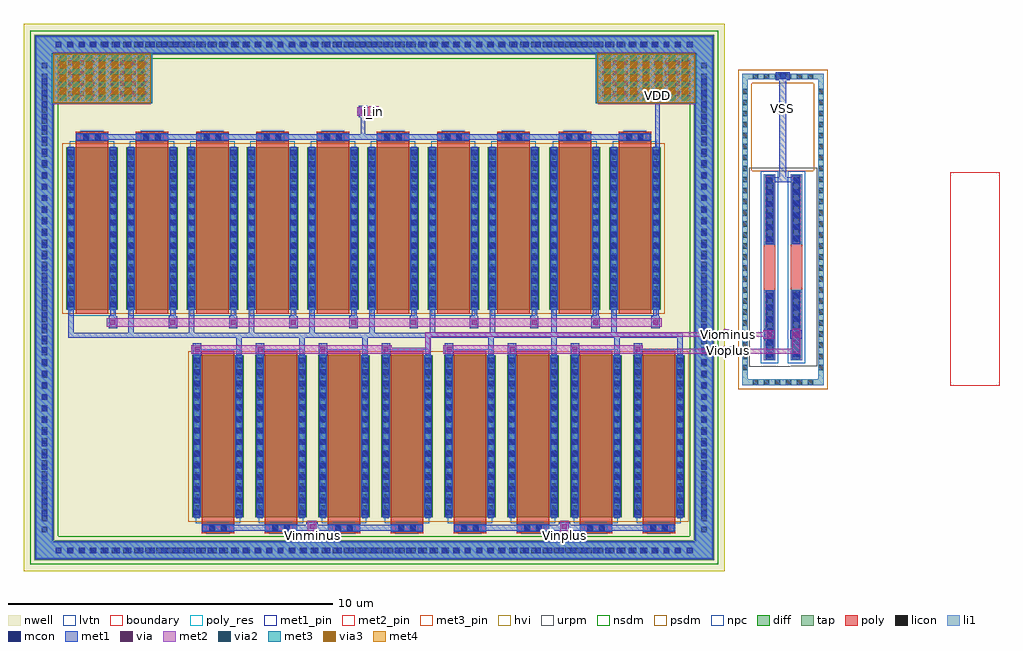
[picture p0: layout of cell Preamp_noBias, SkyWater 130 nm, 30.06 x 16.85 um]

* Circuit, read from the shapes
.subckt Preamp_noBias VDD VSS Vinminus Vinplus Viominus Vioplus i_in
XM1 VDD i_in n1 VDD sky130_fd_pr__pfet_g5v0d10v5 w=5 l=1 m=10
XM2 n1 Vinminus Viominus VDD sky130_fd_pr__pfet_g5v0d10v5 w=5 l=1 m=4
XM3 n1 Vinplus Vioplus VDD sky130_fd_pr__pfet_g5v0d10v5 w=5 l=1 m=4
XR4 VSS Viominus VSS sky130_fd_pr__res_xhigh_po w=0.35 l=1.44
XR5 VSS Vioplus VSS sky130_fd_pr__res_xhigh_po w=0.35 l=1.44
.ends

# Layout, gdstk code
import gdstk
lib = gdstk.Library(unit=1e-6, precision=1e-09)
def R(c, l, rs):  # rectangles x0, y0, x1, y1
    for r in rs: c.add(gdstk.rectangle(r[:2], r[2:], *l))
def A(c, l, x, y, w, h, nx, ny, dx, dy):  # array of equal rectangles
    R(c, l, [(x+i*dx, y+j*dy, x+i*dx+w, y+j*dy+h) for i in range(nx) for j in range(ny)])
nwell = (64, 20)
diff = (65, 20)
tap = (65, 44)
poly_res = (66, 13)
poly = (66, 20)
licon = (66, 44)
li1 = (67, 20)
mcon = (67, 44)
met1_pin = (68, 16)
met1 = (68, 20)
via = (68, 44)
met2_pin = (69, 16)
met2 = (69, 20)
via2 = (69, 44)
met3_pin = (70, 16)
met3 = (70, 20)
via3 = (70, 44)
met4 = (71, 20)
hvi = (75, 20)
urpm = (79, 20)
nsdm = (93, 44)
psdm = (94, 20)
npc = (95, 20)
lvtn = (125, 44)
boundary = (235, 4)

sky130_fd_pr__pfet_01v8_ = lib.new_cell('sky130_fd_pr__pfet_01v8_lvt_755577')
R(sky130_fd_pr__pfet_01v8_, nwell, [(-0.97,-2.82,0.97,2.99)])
R(sky130_fd_pr__pfet_01v8_, diff, [(-0.79,-2.32,0.79,2.68)])
R(sky130_fd_pr__pfet_01v8_, poly, [(-0.5,-2.805,0.5,2.81)])
A(sky130_fd_pr__pfet_01v8_, licon, -0.73, -2.115, 0.17, 0.17, 1, 14, 0, 0.34)
A(sky130_fd_pr__pfet_01v8_, licon, 0.56, -2.115, 0.17, 0.17, 1, 14, 0, 0.34)
R(sky130_fd_pr__pfet_01v8_, licon, [(-0.255,-2.725,-0.085,-2.555), (0.085,-2.725,0.255,-2.555)])
R(sky130_fd_pr__pfet_01v8_, li1, [(-0.5,-2.725,0.5,-2.555), (-0.73,-2.34,-0.56,2.7), (0.56,-2.34,0.73,2.7)])
A(sky130_fd_pr__pfet_01v8_, mcon, -0.73, -2.245, 0.17, 0.17, 1, 14, 0, 0.36)
A(sky130_fd_pr__pfet_01v8_, mcon, 0.56, -2.245, 0.17, 0.17, 1, 14, 0, 0.36)
R(sky130_fd_pr__pfet_01v8_, mcon, [(-0.265,-2.725,-0.095,-2.555), (0.095,-2.725,0.265,-2.555)])
R(sky130_fd_pr__pfet_01v8_, met1, [(-0.48,-2.755,0.48,-2.525), (-0.76,-2.32,-0.53,2.68), (0.53,-2.32,0.76,2.68)])
R(sky130_fd_pr__pfet_01v8_, psdm, [(-0.915,-2.445,0.915,2.805)])
R(sky130_fd_pr__pfet_01v8_, npc, [(-0.355,-2.825,0.355,-2.455)])
R(sky130_fd_pr__pfet_01v8_, lvtn, [(-0.68,-2.5,0.68,2.86)])

sky130_fd_pr__res_xhigh_ = lib.new_cell('sky130_fd_pr__res_xhigh_po_0p35_5KD9UN')
R(sky130_fd_pr__res_xhigh_, poly_res, [(-0.175,-0.78,0.175,0.78)])
R(sky130_fd_pr__res_xhigh_, poly, [(-0.175,-2.86,0.175,2.86)])
R(sky130_fd_pr__res_xhigh_, licon, [(-0.095,-2.78,0.095,-0.78), (-0.095,0.78,0.095,2.78)])
R(sky130_fd_pr__res_xhigh_, li1, [(-0.175,-2.86,0.175,-0.7), (-0.175,0.7,0.175,2.86)])
A(sky130_fd_pr__res_xhigh_, mcon, -0.085, -2.765, 0.17, 0.17, 1, 6, 0, 0.36)
A(sky130_fd_pr__res_xhigh_, mcon, -0.085, 0.79, 0.17, 0.17, 1, 6, 0, 0.36)
R(sky130_fd_pr__res_xhigh_, met1, [(-0.125,-2.83,0.125,-0.725), (-0.125,0.725,0.125,2.83)])
R(sky130_fd_pr__res_xhigh_, urpm, [(-0.635,-3.06,0.635,3.06)])
R(sky130_fd_pr__res_xhigh_, psdm, [(-0.285,-2.97,0.285,2.97)])
R(sky130_fd_pr__res_xhigh_, npc, [(-0.27,-2.955,0.27,2.955)])

c_sky130_fd_pr__pfet_01v8_ = lib.new_cell('sky130_fd_pr__pfet_01v8_lvt_N5558H')
R(c_sky130_fd_pr__pfet_01v8_, nwell, [(-0.97,-2.99,0.97,2.82)])
R(c_sky130_fd_pr__pfet_01v8_, diff, [(-0.79,-2.68,0.79,2.32)])
R(c_sky130_fd_pr__pfet_01v8_, poly, [(-0.5,-2.81,0.5,2.805)])
A(c_sky130_fd_pr__pfet_01v8_, licon, -0.73, -2.475, 0.17, 0.17, 1, 14, 0, 0.34)
A(c_sky130_fd_pr__pfet_01v8_, licon, 0.56, -2.475, 0.17, 0.17, 1, 14, 0, 0.34)
R(c_sky130_fd_pr__pfet_01v8_, licon, [(-0.255,2.555,-0.085,2.725), (0.085,2.555,0.255,2.725)])
R(c_sky130_fd_pr__pfet_01v8_, li1, [(-0.73,-2.7,-0.56,2.34), (0.56,-2.7,0.73,2.34), (-0.5,2.555,0.5,2.725)])
A(c_sky130_fd_pr__pfet_01v8_, mcon, -0.73, -2.605, 0.17, 0.17, 1, 14, 0, 0.36)
A(c_sky130_fd_pr__pfet_01v8_, mcon, 0.56, -2.605, 0.17, 0.17, 1, 14, 0, 0.36)
R(c_sky130_fd_pr__pfet_01v8_, mcon, [(-0.265,2.555,-0.095,2.725), (0.095,2.555,0.265,2.725)])
R(c_sky130_fd_pr__pfet_01v8_, met1, [(-0.76,-2.68,-0.53,2.32), (0.53,-2.68,0.76,2.32), (-0.48,2.525,0.48,2.755)])
R(c_sky130_fd_pr__pfet_01v8_, psdm, [(-0.915,-2.805,0.915,2.445)])
R(c_sky130_fd_pr__pfet_01v8_, npc, [(-0.355,2.455,0.355,2.825)])
R(c_sky130_fd_pr__pfet_01v8_, lvtn, [(-0.68,-2.86,0.68,2.5)])

preamp_nobias = lib.new_cell('Preamp_noBias')
R(preamp_nobias, nwell, [(-1.2,-7.65,20.4,9.2)])
R(preamp_nobias, tap, [(-0.87,-7.32,20.07,-6.7), (-0.87,-6.7,-0.25,8.25), (19.45,-6.7,20.07,8.25), (20.94,-1.92,23.44,-1.75), (20.94,-1.75,21.11,7.5), (23.27,-1.75,23.44,7.5), (20.94,7.5,23.44,7.67), (-0.87,8.25,20.07,8.87)])
A(preamp_nobias, licon, 0.165, -7.095, 0.17, 0.17, 56, 2, 0.34, 15.57)
A(preamp_nobias, licon, -0.645, -6.45, 0.17, 0.17, 1, 43, 0, 0.34)
A(preamp_nobias, licon, 19.675, -6.45, 0.17, 0.17, 1, 43, 0, 0.34)
A(preamp_nobias, licon, 21.255, -1.92, 0.17, 0.17, 6, 2, 0.34, 9.42)
A(preamp_nobias, licon, 20.94, -1.46, 0.17, 0.17, 1, 26, 0, 0.34)
A(preamp_nobias, licon, 23.27, -1.46, 0.17, 0.17, 1, 26, 0, 0.34)
R(preamp_nobias, li1, [(-0.81,-7.26,20.01,-6.76), (-0.81,-6.76,-0.31,8.31), (19.51,-6.76,20.01,8.31), (20.94,-1.92,23.44,-1.75), (20.94,-1.75,21.11,7.5), (23.27,-1.75,23.44,7.5), (22.03,7.49,22.34,7.5), (20.94,7.5,23.44,7.67), (22.03,7.67,22.34,7.69), (-0.81,8.31,20.01,8.81)])
A(preamp_nobias, mcon, -0.205, -7.095, 0.17, 0.17, 55, 2, 0.36, 15.57)
A(preamp_nobias, mcon, -0.645, -5.97, 0.17, 0.17, 1, 38, 0, 0.36)
A(preamp_nobias, mcon, 19.675, -5.97, 0.17, 0.17, 1, 38, 0, 0.36)
R(preamp_nobias, mcon, [(22.1,7.505,22.27,7.675)])
R(preamp_nobias, met1_pin, [(22.03,6.44,22.33,6.74)])
A(preamp_nobias, met1, 5.35, -1.21, 0.17, 0.75, 7, 1, 1.94, 0)
A(preamp_nobias, met1, 0.18, -0.31, 0.17, 0.77, 4, 1, 3.71, 0)
A(preamp_nobias, met1, 2.03, -0.31, 0.17, 0.82, 4, 1, 3.71, 0)
R(preamp_nobias, met1, [(-0.84,-7.29,20.04,-6.73), (-0.84,-6.73,-0.28,6.78), (19.48,-6.73,20.04,6.78), (4.36,-6.41,11.03,-6.23), (12.13,-6.41,18.8,-6.23), (7.51,-6.23,7.87,-6.15), (15.28,-6.23,15.64,-6.15), (18.93,-1.14,19.1,-0.46), (4.02,-1,4.28,-0.64), (5.96,-1,6.22,-0.64), (7.89,-1,8.15,-0.64), (9.83,-1,10.09,-0.64), (11.78,-1,12.04,-0.64), (13.72,-1,13.98,-0.64), (15.65,-1,15.91,-0.64), (17.59,-1,17.85,-0.64), (21.63,-0.55,21.89,-0.19), (22.42,-0.5,22.78,-0.24), (0.18,-0.46,19.1,-0.31), (15.05,-0.31,15.22,0.46), (16.9,-0.31,17.07,0.51), (1.42,-0.17,1.68,0.19), (3.27,-0.17,3.53,0.19), (5.13,-0.17,5.39,0.19), (6.98,-0.17,7.24,0.19), (8.84,-0.17,9.1,0.19), (10.69,-0.17,10.95,0.19), (12.55,-0.17,12.81,0.19), (14.4,-0.17,14.66,0.19), (16.29,-0.17,16.55,0.19), (18.14,-0.17,18.4,0.19), (1.47,0.19,1.64,0.4), (3.32,0.19,3.49,0.4), (5.18,0.19,5.35,0.4), (7.03,0.19,7.2,0.4), (8.89,0.19,9.06,0.4), (10.74,0.19,10.91,0.4), (12.6,0.19,12.77,0.4), (14.45,0.19,14.62,0.4), (16.34,0.19,16.51,0.4), (18.19,0.19,18.36,0.4), (21.68,4.33,22.7,4.48), (22.07,4.48,22.29,6.44), (18.26,5.34,18.4,6.78), (0.49,5.63,18.05,5.81), (9.19,5.81,9.33,6.32), (9.13,6.32,9.39,6.68), (22.03,6.44,22.33,6.74), (22.07,6.74,22.29,7.46), (-0.84,6.78,2.77,8.28), (16.43,6.78,20.04,8.28), (21.97,7.46,22.4,7.72), (-0.84,8.28,20.04,8.84)])
A(preamp_nobias, via, -0.135, 6.975, 0.15, 0.15, 9, 4, 0.32, 0.32)
A(preamp_nobias, via, 16.625, 6.975, 0.15, 0.15, 9, 4, 0.32, 0.32)
R(preamp_nobias, via, [(7.615,-6.355,7.765,-6.205), (15.385,-6.355,15.535,-6.205), (4.075,-0.895,4.225,-0.745), (6.015,-0.895,6.165,-0.745), (7.945,-0.895,8.095,-0.745), (9.885,-0.895,10.035,-0.745), (11.835,-0.895,11.985,-0.745), (13.775,-0.895,13.925,-0.745), (15.705,-0.895,15.855,-0.745), (17.645,-0.895,17.795,-0.745), (21.685,-0.445,21.835,-0.295), (22.525,-0.445,22.675,-0.295), (1.475,-0.065,1.625,0.085), (3.325,-0.065,3.475,0.085), (5.185,-0.065,5.335,0.085), (7.035,-0.065,7.185,0.085), (8.895,-0.065,9.045,0.085), (10.745,-0.065,10.895,0.085), (12.605,-0.065,12.755,0.085), (14.455,-0.065,14.605,0.085), (16.345,-0.065,16.495,0.085), (18.195,-0.065,18.345,0.085), (9.185,6.425,9.335,6.575)])
R(preamp_nobias, met2_pin, [(7.54,-6.71,7.84,-6.41), (15.31,-6.71,15.61,-6.41), (20.37,-1.02,20.67,-0.72), (20.37,-0.5,20.67,-0.2), (9.44,6.36,9.74,6.66)])
R(preamp_nobias, met2, [(7.54,-6.71,7.84,-6.41), (15.31,-6.71,15.61,-6.41), (7.56,-6.41,7.82,-6.1), (15.33,-6.41,15.59,-6.1), (20.37,-1.02,20.67,-0.95), (3.97,-0.95,11.33,-0.77), (11.73,-0.95,22.73,-0.8), (11.73,-0.8,17.88,-0.69), (20.37,-0.8,20.67,-0.72), (22.47,-0.8,22.73,-0.19), (3.97,-0.77,10.14,-0.69), (11.17,-0.77,11.33,-0.44), (20.37,-0.5,20.67,-0.44), (21.58,-0.5,21.94,-0.44), (11.17,-0.44,21.94,-0.3), (20.37,-0.3,20.67,-0.2), (21.58,-0.3,21.94,-0.24), (1.37,-0.12,18.45,0.14), (9.44,6.36,9.74,6.37), (9.08,6.37,9.74,6.63), (9.44,6.63,9.74,6.66), (-0.28,6.73,2.72,8.33), (16.48,6.73,19.48,8.33)])
A(preamp_nobias, via2, -0.08, 6.83, 0.2, 0.2, 7, 4, 0.4, 0.4)
A(preamp_nobias, via2, 16.68, 6.83, 0.2, 0.2, 7, 4, 0.4, 0.4)
R(preamp_nobias, met3_pin, [(18.19,6.85,18.49,7.15)])
R(preamp_nobias, met3, [(-0.33,6.755,2.77,8.305), (16.43,6.755,19.53,8.305)])
A(preamp_nobias, via3, -0.08, 7.03, 0.2, 0.2, 7, 3, 0.4, 0.4)
A(preamp_nobias, via3, 16.68, 7.03, 0.2, 0.2, 7, 3, 0.4, 0.4)
R(preamp_nobias, met4, [(-0.285,6.775,2.725,8.285), (16.475,6.775,19.485,8.285)])
R(preamp_nobias, hvi, [(-1.2,-7.65,20.4,9.2)])
R(preamp_nobias, nsdm, [(-0.995,-7.445,20.195,-6.575), (-0.995,-6.575,-0.125,8.125), (19.325,-6.575,20.195,8.125), (-0.995,8.125,20.195,8.995)])
A(preamp_nobias, psdm, 5.705, -6.125, 0.11, 5.25, 7, 1, 1.94, 0)
A(preamp_nobias, psdm, 1.825, 0.275, 0.02, 5.25, 4, 1, 3.71, 0)
A(preamp_nobias, psdm, 3.675, 0.275, 0.03, 5.25, 3, 1, 3.71, 0)
R(preamp_nobias, psdm, [(20.815,-2.045,23.565,-1.265), (20.815,-1.265,21.495,4.675), (22.065,-1.265,23.565,-1.26), (22.065,-1.26,22.32,4.675), (22.89,-1.26,23.565,4.68), (14.805,0.275,14.865,5.525), (16.695,0.275,16.715,5.525), (20.815,4.675,21.235,7.375), (23.145,4.68,23.565,7.375), (20.815,7.375,23.565,7.795)])
R(preamp_nobias, boundary, [(27.34,-1.94,28.86,4.64)])
preamp_nobias.add(gdstk.Reference(sky130_fd_pr__pfet_01v8_, (4.79,-3.68)))
preamp_nobias.add(gdstk.Reference(sky130_fd_pr__pfet_01v8_, (6.73,-3.68)))
preamp_nobias.add(gdstk.Reference(sky130_fd_pr__pfet_01v8_, (8.67,-3.68)))
preamp_nobias.add(gdstk.Reference(sky130_fd_pr__pfet_01v8_, (10.61,-3.68)))
preamp_nobias.add(gdstk.Reference(sky130_fd_pr__pfet_01v8_, (12.55,-3.68)))
preamp_nobias.add(gdstk.Reference(sky130_fd_pr__pfet_01v8_, (14.49,-3.68)))
preamp_nobias.add(gdstk.Reference(sky130_fd_pr__pfet_01v8_, (16.43,-3.68)))
preamp_nobias.add(gdstk.Reference(sky130_fd_pr__pfet_01v8_, (18.37,-3.68)))
preamp_nobias.add(gdstk.Reference(sky130_fd_pr__res_xhigh_, (22.605,1.71)))
preamp_nobias.add(gdstk.Reference(sky130_fd_pr__res_xhigh_, (21.78,1.705)))
preamp_nobias.add(gdstk.Reference(c_sky130_fd_pr__pfet_01v8_, (0.91,3.08)))
preamp_nobias.add(gdstk.Reference(c_sky130_fd_pr__pfet_01v8_, (2.76,3.08)))
preamp_nobias.add(gdstk.Reference(c_sky130_fd_pr__pfet_01v8_, (4.62,3.08)))
preamp_nobias.add(gdstk.Reference(c_sky130_fd_pr__pfet_01v8_, (6.47,3.08)))
preamp_nobias.add(gdstk.Reference(c_sky130_fd_pr__pfet_01v8_, (8.33,3.08)))
preamp_nobias.add(gdstk.Reference(c_sky130_fd_pr__pfet_01v8_, (10.18,3.08)))
preamp_nobias.add(gdstk.Reference(c_sky130_fd_pr__pfet_01v8_, (12.04,3.08)))
preamp_nobias.add(gdstk.Reference(c_sky130_fd_pr__pfet_01v8_, (13.89,3.08)))
preamp_nobias.add(gdstk.Reference(c_sky130_fd_pr__pfet_01v8_, (15.78,3.08)))
preamp_nobias.add(gdstk.Reference(c_sky130_fd_pr__pfet_01v8_, (17.63,3.08)))
preamp_nobias.add(gdstk.Label('VDD', (18.34,7), layer=70, texttype=5))
preamp_nobias.add(gdstk.Label('i_in', (9.59,6.51), layer=69, texttype=5))
preamp_nobias.add(gdstk.Label('Vinminus', (7.69,-6.56), layer=69, texttype=5))
preamp_nobias.add(gdstk.Label('Vinplus', (15.46,-6.56), layer=69, texttype=5))
preamp_nobias.add(gdstk.Label('Vioplus', (20.52,-0.87), layer=69, texttype=5))
preamp_nobias.add(gdstk.Label('Viominus', (20.52,-0.35), layer=69, texttype=5))
preamp_nobias.add(gdstk.Label('VSS', (22.18,6.59), layer=68, texttype=5))

lib.write_gds('Preamp_noBias.gds')
